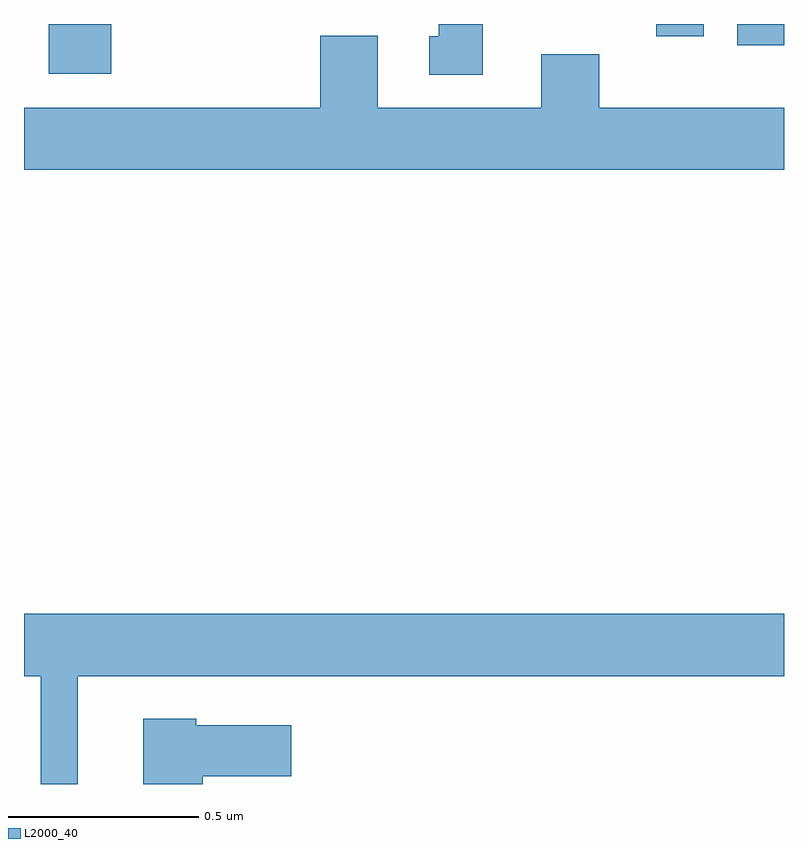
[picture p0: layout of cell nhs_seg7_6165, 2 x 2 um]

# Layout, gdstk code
import gdstk
lib = gdstk.Library(unit=1e-6, precision=1e-09)
def R(c, l, rs):  # rectangles x0, y0, x1, y1
    for r in rs: c.add(gdstk.rectangle(r[:2], r[2:], *l))
def P(c, l, *ps):  # polygons
    for p in ps: c.add(gdstk.Polygon(p, *l))
L2000_40 = (2000, 40)

nhs_seg7_6165 = lib.new_cell('nhs_seg7_6165')
R(nhs_seg7_6165, L2000_40, [(195.065,1000.869,195.23,1001), (196.877,1000.944,197,1001), (196.664,1000.968,196.789,1001)])
P(nhs_seg7_6165, L2000_40, [(196.207,1001),(196.091,1001),(196.091,1000.968),(196.067,1000.968),(196.067,1000.866),(196.207,1000.866)],
  [(197,1000.78),(196.514,1000.78),(196.514,1000.921),(196.361,1000.921),(196.361,1000.78),(195.931,1000.78),(195.931,1000.969),(195.779,1000.969),(195.779,1000.78),(195,1000.78),(195,1000.616),(197,1000.616)],
  [(195.142,999.284),(197,999.284),(197,999.448),(195,999.448),(195,999.284),(195.044,999.284),(195.044,999),(195.142,999)],
  [(195.47,999.02),(195.703,999.02),(195.703,999.154),(195.453,999.154),(195.453,999.172),(195.314,999.172),(195.314,999),(195.47,999)])

lib.write_gds('nhs_seg7_6165.gds')
